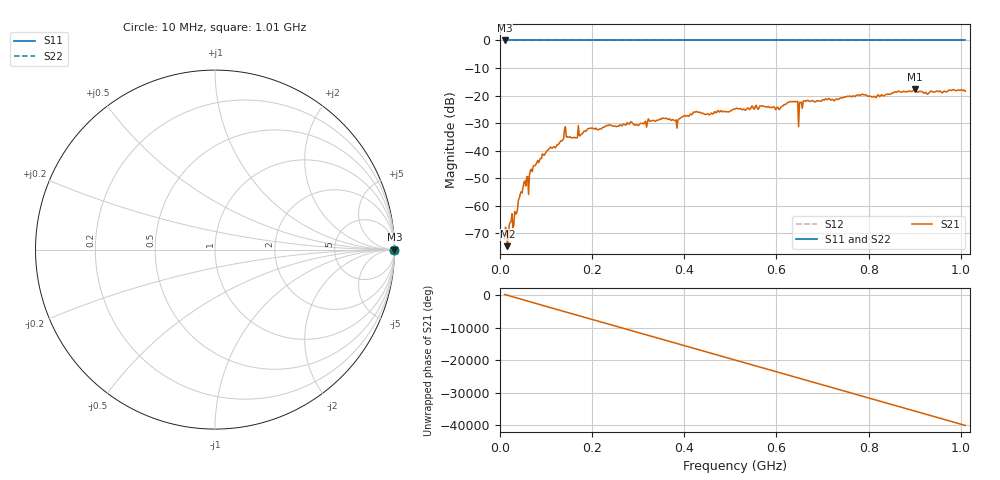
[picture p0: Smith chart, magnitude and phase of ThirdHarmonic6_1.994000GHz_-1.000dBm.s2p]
! 8/16/2025 11:57:59 PM
! C:\ANRITSUVNA\TEMP\TEMP.S2P
! CHANNEL.1
! TR.MEASUREMENT
! RAW.DATA
! RF.CORRECTION.OFF
! AVERAGING.OFF
! IF.BANDWIDTH: 5KHZ
! SWEEPTYPE:  FREQ.SWEEP(Linear)
! Reference Plane Port Info
! PORT:  PORT1  PORT2
! DISTANCE:  0  m  0  m
! TIME:  0  s  0  s
! PHASE.OFFSET:  0  deg.  0  deg.
! LOSS:  0  dB  0  dB
! REF.LOSS:  0  dB  0  dB
! REF.FREQ:  0  Hz  0  Hz
! Power Info
! POWER:  -20  dBm  -20  dBm
! EFF.POWER:  -20  dBm  -20  dBm
! SOURCE.ATTEN:  0  dB  0  dB
! TEST.ATTEN:  0  dB  0  dB
# GHZ S RI R 50.0
! FREQ.GHZ  S11RE  S11IM  S21RE  S21IM  S12RE  S12IM  S22RE  S22IM
!; PortSelection: Port_12
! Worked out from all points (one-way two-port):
!   501 points, 10 MHz to 1.01 GHz, reference 50 ohm
!   highest |S21| = -17.81 dB at 900 MHz (marker M1); lowest = -74.7 dB at 16 MHz (marker M2)
!   lowest |S11| = 0.0 dB at 10 MHz (marker M3)
!   |S11| at or under -10 dB: nowhere
!   |S22| runs from 0.0 to 0.0 dB; largest |S21 - S12| = 1.1
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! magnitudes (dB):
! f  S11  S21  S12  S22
! 10 MHz  0.0  -72.1  0.0  0.0
! 16 MHz  0.0  -74.7  0.0  0.0
! 24 MHz  0.0  -65.8  0.0  0.0
! 32 MHz  0.0  -62.1  0.0  0.0
! 50 MHz  0.0  -53.3  0.0  0.0
! 76 MHz  0.0  -45.5  0.0  0.0
! 142 MHz  0.0  -31.3  0.0  0.0
! 162 MHz  0.0  -35.2  0.0  0.0
! 178 MHz  0.0  -33.9  0.0  0.0
! 196 MHz  0.0  -31.9  0.0  0.0
! 344 MHz  0.0  -29.0  0.0  0.0
! 382 MHz  0.0  -28.8  0.0  0.0
! 424 MHz  0.0  -26.0  0.0  0.0
! 510 MHz  0.0  -24.9  0.0  0.0
! 602 MHz  0.0  -24.2  0.0  0.0
! 640 MHz  0.0  -22.2  0.0  0.0
! 652 MHz  0.0  -22.5  0.0  0.0
! 662 MHz  0.0  -21.9  0.0  0.0
! 678 MHz  0.0  -21.9  0.0  0.0
! 844 MHz  0.0  -19.5  0.0  0.0
! 900 MHz  0.0  -17.8  0.0  0.0
! 1.01 GHz  0.0  -18.5  0.0  0.0
